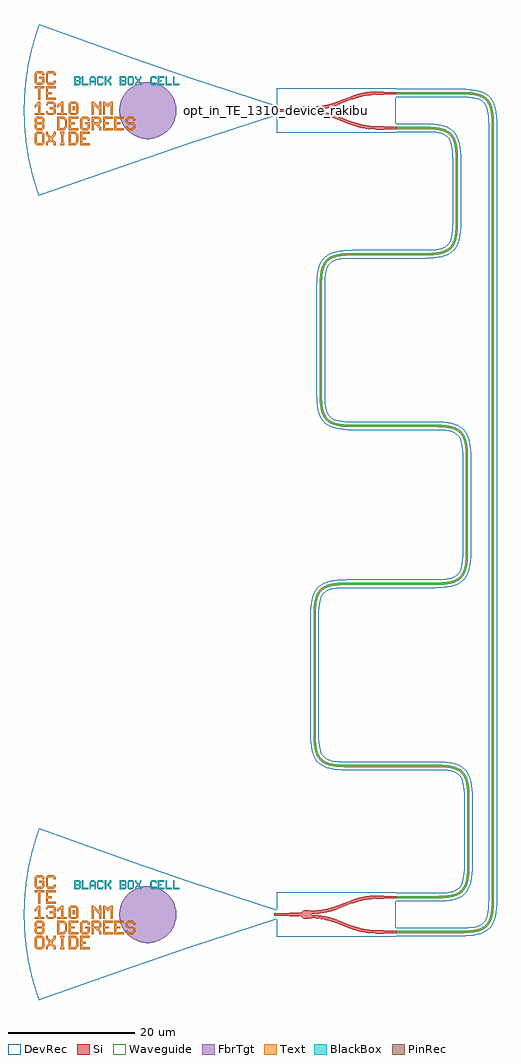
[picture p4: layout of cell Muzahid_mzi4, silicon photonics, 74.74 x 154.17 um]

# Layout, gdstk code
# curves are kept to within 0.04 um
import gdstk
lib = gdstk.Library(unit=1e-6, precision=1e-09)
def R(c, l, rs):  # rectangles x0, y0, x1, y1
    for r in rs: c.add(gdstk.rectangle(r[:2], r[2:], *l))
def P(c, l, *ps):  # polygons
    for p in ps: c.add(gdstk.Polygon(p, *l))
Si = (1, 0)
PinRec = (1, 10)
Waveguide = (1, 99)
Text = (10, 0)
DevRec = (68, 0)
FbrTgt = (81, 0)
BlackBox = (998, 0)

waveguide = lib.new_cell('Waveguide')
P(waveguide, Si, [(58.769,10.575),(58.769,10.925),(69.496,10.93),(70.634,10.997),(71.565,11.157),(72.076,11.32),(72.506,11.534),(72.863,11.799),(73.157,12.123),(73.448,12.626),(73.624,13.117),(73.838,14.358),(73.891,15.75),(73.891,138.25),(73.819,139.818),(73.693,140.608),(73.541,141.14),(73.341,141.59),(73.089,141.965),(72.78,142.274),(72.405,142.526),(71.955,142.726),(71.423,142.878),(70.458,143.022),(69.495,143.071),(58.769,143.075),(58.769,143.425),(69.287,143.424),(70.49,143.37),(71.499,143.22),(72.205,143.005),(72.901,142.623),(73.359,142.187),(73.709,141.64),(73.999,140.835),(74.147,140.032),(74.231,138.896),(74.241,15.75),(74.186,14.326),(74.068,13.473),(73.918,12.88),(73.71,12.361),(73.439,11.915),(73.099,11.539),(72.688,11.234),(72.206,10.996),(71.651,10.817),(70.672,10.649),(69.502,10.58)])
P(waveguide, Waveguide, [(58.769,10.575),(58.769,10.925),(69.496,10.93),(70.634,10.997),(71.565,11.157),(72.076,11.32),(72.506,11.534),(72.863,11.799),(73.157,12.123),(73.448,12.626),(73.624,13.117),(73.838,14.358),(73.891,15.75),(73.891,138.25),(73.819,139.818),(73.693,140.608),(73.541,141.14),(73.341,141.59),(73.089,141.965),(72.78,142.274),(72.405,142.526),(71.955,142.726),(71.423,142.878),(70.458,143.022),(69.495,143.071),(58.769,143.075),(58.769,143.425),(69.287,143.424),(70.49,143.37),(71.499,143.22),(72.205,143.005),(72.901,142.623),(73.359,142.187),(73.709,141.64),(73.999,140.835),(74.147,140.032),(74.231,138.896),(74.241,15.75),(74.186,14.326),(74.068,13.473),(73.918,12.88),(73.71,12.361),(73.439,11.915),(73.099,11.539),(72.688,11.234),(72.206,10.996),(71.651,10.817),(70.672,10.649),(69.502,10.58)])
P(waveguide, DevRec, [(58.769,10.075),(58.769,11.425),(69.718,11.436),(70.822,11.524),(71.665,11.705),(72.264,11.972),(72.491,12.136),(72.845,12.553),(73.112,13.152),(73.214,13.542),(73.349,14.514),(73.391,15.75),(73.391,138.25),(73.292,140.006),(73.111,140.849),(72.988,141.177),(72.68,141.675),(72.49,141.865),(71.992,142.173),(71.274,142.398),(70.302,142.533),(69.065,142.575),(58.769,142.575),(58.769,143.925),(69.067,143.925),(70.41,143.879),(71.56,143.718),(72.544,143.405),(73.366,142.891),(73.706,142.551),(73.99,142.162),(74.399,141.255),(74.63,140.192),(74.73,138.95),(74.741,15.75),(74.695,14.406),(74.534,13.256),(74.4,12.746),(73.991,11.839),(73.367,11.11),(72.978,10.826),(72.071,10.417),(71.008,10.186),(69.766,10.086)])
waveguide.add(gdstk.FlexPath([(58.779,143.25),(58.759,143.25)], 0.35, ends="flush", simple_path=True, layer=1, datatype=10))  # PinRec
waveguide.add(gdstk.FlexPath([(58.779,10.75),(58.759,10.75)], 0.35, ends="flush", simple_path=True, layer=1, datatype=10))  # PinRec
waveguide.add(gdstk.Label('opt1', (58.769,143.25), layer=1, texttype=10))
waveguide.add(gdstk.Label('opt2', (58.769,10.75), layer=1, texttype=10))
waveguide.add(gdstk.Label('Lumerical_INTERCONNECT_library=Design kits/EBeam', (58.769,143.18), layer=68, texttype=0))
waveguide.add(gdstk.Label('Component=ebeam_wg_integral_1310', (58.769,143.32), layer=68, texttype=0))
waveguide.add(gdstk.Label('cellName=Waveguide', (58.769,143.39), layer=68, texttype=0))
waveguide.add(gdstk.Label('Spice_param:wg_length=0.000160001 wg_width=3.5e-07 points="[[58.769,143.25],[74.066,143.25],[74.066,10.75],[58.769,10.75]]" radius=5e-06', (58.769,143.25), layer=68, texttype=0))
waveguide.add(gdstk.Label('Length=160.001 (microns)', (58.769,142.83), layer=68, texttype=0))
waveguide.add(gdstk.Label('waveguide_type=Strip TE 1310 nm, w=350 nm', (58.769,143.11), layer=68, texttype=0))

text = lib.new_cell('TEXT')
P(text, BlackBox, [(0,0),(0,1.4),(0.8,1.4),(1,1.2),(0.2,1.2),(0.2,0.8),(0.7,0.8),(0.8,0.9),(0.8,1.1),(0.7,1.2),(1,1.2),(1,0.8),(0.9,0.7),(1,0.6),(0.2,0.6),(0.2,0.2),(0.7,0.2),(0.8,0.3),(0.8,0.5),(0.7,0.6),(1,0.6),(1,0.2),(0.8,0)],
  [(1.2,0),(1.2,1.4),(1.4,1.4),(1.4,0.2),(2.2,0.2),(2.2,0)],
  [(2.4,0),(2.4,1.1),(2.7,1.4),(3.1,1.4),(3.3,1.2),(2.8,1.2),(2.6,1),(2.6,0.7),(3.2,0.7),(3.2,1),(3,1.2),(3.3,1.2),(3.4,1.1),(3.4,0),(3.2,0),(3.2,0.5),(2.6,0.5),(2.6,0)],
  [(3.8,0),(3.6,0.2),(3.6,1.2),(3.8,1.4),(4.4,1.4),(4.6,1.2),(4.6,1),(4.4,1),(4.4,1.1),(4.3,1.2),(3.9,1.2),(3.8,1.1),(3.8,0.3),(3.9,0.2),(4.3,0.2),(4.4,0.3),(4.4,0.4),(4.6,0.4),(4.6,0.2),(4.4,0)],
  [(4.8,0),(4.8,1.4),(5,1.4),(5,0.8),(5.2,0.8),(5.6,1.2),(5.6,1.4),(5.8,1.4),(5.8,1.1),(5.4,0.7),(5.8,0.3),(5.8,0),(5.6,0),(5.6,0.2),(5.2,0.6),(5,0.6),(5,0)],
  [(7.2,0),(7.2,1.4),(8,1.4),(8.2,1.2),(7.4,1.2),(7.4,0.8),(7.9,0.8),(8,0.9),(8,1.1),(7.9,1.2),(8.2,1.2),(8.2,0.8),(8.1,0.7),(8.2,0.6),(7.4,0.6),(7.4,0.2),(7.9,0.2),(8,0.3),(8,0.5),(7.9,0.6),(8.2,0.6),(8.2,0.2),(8,0)],
  [(8.6,0),(8.4,0.2),(8.4,1.2),(8.6,1.4),(9.2,1.4),(9.4,1.2),(9.4,0.7),(9.2,0.7),(9.2,1.1),(9.1,1.2),(8.7,1.2),(8.6,1.1),(8.6,0.3),(8.7,0.2),(9.1,0.2),(9.2,0.3),(9.2,0.7),(9.4,0.7),(9.4,0.2),(9.2,0)],
  [(9.6,0),(9.6,0.3),(9.9,0.6),(9.9,0.8),(9.6,1.1),(9.6,1.4),(9.8,1.4),(9.8,1.2),(10.1,0.9),(10.4,1.2),(10.4,1.4),(10.6,1.4),(10.6,1.1),(10.3,0.8),(10.3,0.6),(10.6,0.3),(10.6,0),(10.4,0),(10.4,0.2),(10.1,0.5),(9.8,0.2),(9.8,0)],
  [(12.2,0),(12,0.2),(12,1.2),(12.2,1.4),(12.8,1.4),(13,1.2),(13,1),(12.8,1),(12.8,1.1),(12.7,1.2),(12.3,1.2),(12.2,1.1),(12.2,0.3),(12.3,0.2),(12.7,0.2),(12.8,0.3),(12.8,0.4),(13,0.4),(13,0.2),(12.8,0)],
  [(13.2,0),(13.2,1.4),(14.2,1.4),(14.2,1.2),(13.4,1.2),(13.4,0.8),(13.8,0.8),(13.8,0.6),(13.4,0.6),(13.4,0.2),(14.2,0.2),(14.2,0)],
  [(14.4,0),(14.4,1.4),(14.6,1.4),(14.6,0.2),(15.4,0.2),(15.4,0)],
  [(15.6,0),(15.6,1.4),(15.8,1.4),(15.8,0.2),(16.6,0.2),(16.6,0)])

gc_te_1310_8degoxide_bb = lib.new_cell('GC_TE_1310_8degOxide_BB')
R(gc_te_1310_8degoxide_bb, Si, [(-0.4,-0.175,0,0.175)])
R(gc_te_1310_8degoxide_bb, Text, [(-32.27,0.06,-31.97,0.66)])
P(gc_te_1310_8degoxide_bb, Text, [(-37.67,1.71),(-37.67,3.51),(-38.27,3.51),(-38.27,3.81),(-36.77,3.81),(-36.77,3.51),(-37.37,3.51),(-37.37,1.71)],
  [(-37.97,-5.49),(-38.27,-5.19),(-38.27,-3.69),(-37.97,-3.39),(-37.07,-3.39),(-36.77,-3.69),(-36.77,-4.44),(-37.07,-4.44),(-37.07,-3.84),(-37.22,-3.69),(-37.82,-3.69),(-37.97,-3.84),(-37.97,-5.04),(-37.82,-5.19),(-37.22,-5.19),(-37.07,-5.04),(-37.07,-4.44),(-36.77,-4.44),(-36.77,-5.19),(-37.07,-5.49)],
  [(-31.07,-5.49),(-31.07,-3.39),(-29.57,-3.39),(-29.57,-3.69),(-30.77,-3.69),(-30.77,-4.29),(-30.17,-4.29),(-30.17,-4.59),(-30.77,-4.59),(-30.77,-5.19),(-29.57,-5.19),(-29.57,-5.49)],
  [(-32.87,-3.09),(-32.87,-0.99),(-31.37,-0.99),(-31.37,-1.29),(-32.57,-1.29),(-32.57,-1.89),(-31.97,-1.89),(-31.97,-2.19),(-32.57,-2.19),(-32.57,-2.79),(-31.37,-2.79),(-31.37,-3.09)],
  [(-27.47,-3.09),(-27.47,-0.99),(-25.97,-0.99),(-25.97,-1.29),(-27.17,-1.29),(-27.17,-1.89),(-26.57,-1.89),(-26.57,-2.19),(-27.17,-2.19),(-27.17,-2.79),(-25.97,-2.79),(-25.97,-3.09)],
  [(-25.67,-3.09),(-25.67,-0.99),(-24.17,-0.99),(-24.17,-1.29),(-25.37,-1.29),(-25.37,-1.89),(-24.77,-1.89),(-24.77,-2.19),(-25.37,-2.19),(-25.37,-2.79),(-24.17,-2.79),(-24.17,-3.09)],
  [(-36.47,1.71),(-36.47,3.81),(-34.97,3.81),(-34.97,3.51),(-36.17,3.51),(-36.17,2.91),(-35.57,2.91),(-35.57,2.61),(-36.17,2.61),(-36.17,2.01),(-34.97,2.01),(-34.97,1.71)],
  [(-27.47,-0.69),(-27.47,1.41),(-27.17,1.41),(-26.87,1.11),(-26.57,1.11),(-26.27,1.41),(-25.97,1.41),(-25.97,-0.69),(-26.27,-0.69),(-26.27,0.81),(-26.42,0.81),(-26.72,0.51),(-27.02,0.81),(-27.17,0.81),(-27.17,-0.69)],
  [(-29.27,-0.69),(-29.27,1.41),(-28.97,1.41),(-28.22,0.66),(-28.07,0.66),(-28.07,1.41),(-27.77,1.41),(-27.77,-0.69),(-28.07,-0.69),(-28.07,0.06),(-28.82,0.81),(-28.97,0.81),(-28.97,-0.69)],
  [(-34.22,-5.49),(-34.22,-5.19),(-34.07,-5.19),(-34.07,-3.69),(-34.22,-3.69),(-34.22,-3.39),(-33.62,-3.39),(-33.62,-3.69),(-33.77,-3.69),(-33.77,-5.19),(-33.62,-5.19),(-33.62,-5.49)],
  [(-36.17,-0.69),(-36.47,-0.39),(-36.47,-0.09),(-36.17,-0.09),(-36.17,-0.24),(-36.02,-0.39),(-35.42,-0.39),(-35.27,-0.24),(-35.27,0.06),(-35.42,0.21),(-35.87,0.21),(-35.87,0.51),(-35.42,0.51),(-35.27,0.66),(-35.27,0.96),(-35.42,1.11),(-36.02,1.11),(-36.17,0.96),(-36.17,0.81),(-36.47,0.81),(-36.47,1.11),(-36.17,1.41),(-35.27,1.41),(-34.97,1.11),(-34.97,0.51),(-35.12,0.36),(-34.97,0.21),(-34.97,-0.39),(-35.27,-0.69)],
  [(-29.27,-3.09),(-29.27,-0.99),(-28.07,-0.99),(-27.77,-1.29),(-28.97,-1.29),(-28.97,-1.89),(-28.22,-1.89),(-28.07,-1.74),(-28.07,-1.44),(-28.22,-1.29),(-27.77,-1.29),(-27.77,-1.89),(-28.07,-2.19),(-28.07,-2.34),(-27.77,-2.64),(-27.77,-3.09),(-28.07,-3.09),(-28.07,-2.79),(-28.67,-2.19),(-28.97,-2.19),(-28.97,-3.09)],
  [(-30.77,-3.09),(-31.07,-2.79),(-31.07,-1.29),(-30.77,-0.99),(-29.87,-0.99),(-29.57,-1.29),(-29.57,-1.59),(-29.87,-1.59),(-29.87,-1.44),(-30.02,-1.29),(-30.62,-1.29),(-30.77,-1.44),(-30.77,-2.64),(-30.62,-2.79),(-30.02,-2.79),(-29.87,-2.64),(-29.87,-2.19),(-30.32,-2.19),(-30.32,-1.89),(-29.57,-1.89),(-29.57,-2.79),(-29.87,-3.09)],
  [(-37.97,4.11),(-38.27,4.41),(-38.27,5.91),(-37.97,6.21),(-37.07,6.21),(-36.77,5.91),(-36.77,5.61),(-37.07,5.61),(-37.07,5.76),(-37.22,5.91),(-37.82,5.91),(-37.97,5.76),(-37.97,4.56),(-37.82,4.41),(-37.22,4.41),(-37.07,4.56),(-37.07,5.01),(-37.52,5.01),(-37.52,5.31),(-36.77,5.31),(-36.77,4.41),(-37.07,4.11)],
  [(-32.57,-0.69),(-32.87,-0.39),(-32.87,1.11),(-32.57,1.41),(-31.67,1.41),(-31.37,1.11),(-32.42,1.11),(-32.57,0.96),(-32.57,-0.24),(-32.42,-0.39),(-31.82,-0.39),(-31.67,-0.24),(-31.67,0.96),(-31.82,1.11),(-31.37,1.11),(-31.37,-0.39),(-31.67,-0.69)],
  [(-32.87,-5.49),(-32.87,-3.39),(-31.82,-3.39),(-31.52,-3.69),(-32.57,-3.69),(-32.57,-5.19),(-31.97,-5.19),(-31.67,-4.89),(-31.67,-3.99),(-31.97,-3.69),(-31.52,-3.69),(-31.37,-3.84),(-31.37,-5.04),(-31.82,-5.49)],
  [(-34.67,-3.09),(-34.67,-0.99),(-33.62,-0.99),(-33.32,-1.29),(-34.37,-1.29),(-34.37,-2.79),(-33.77,-2.79),(-33.47,-2.49),(-33.47,-1.59),(-33.77,-1.29),(-33.32,-1.29),(-33.17,-1.44),(-33.17,-2.64),(-33.62,-3.09)],
  [(-23.57,-3.09),(-23.87,-2.79),(-23.87,-2.49),(-23.57,-2.49),(-23.57,-2.64),(-23.42,-2.79),(-22.82,-2.79),(-22.67,-2.64),(-22.67,-2.34),(-22.82,-2.19),(-23.57,-2.19),(-23.87,-1.89),(-23.87,-1.29),(-23.57,-0.99),(-22.67,-0.99),(-22.37,-1.29),(-22.37,-1.59),(-22.67,-1.59),(-22.67,-1.44),(-22.82,-1.29),(-23.42,-1.29),(-23.57,-1.44),(-23.57,-1.74),(-23.42,-1.89),(-22.67,-1.89),(-22.37,-2.19),(-22.37,-2.79),(-22.67,-3.09)],
  [(-37.97,-3.09),(-38.27,-2.79),(-38.27,-2.19),(-38.12,-2.04),(-38.27,-1.89),(-38.27,-1.29),(-37.97,-0.99),(-37.07,-0.99),(-36.77,-1.29),(-37.82,-1.29),(-37.97,-1.44),(-37.97,-1.74),(-37.82,-1.89),(-37.22,-1.89),(-37.07,-1.74),(-37.07,-1.44),(-37.22,-1.29),(-36.77,-1.29),(-36.77,-1.89),(-36.92,-2.04),(-36.77,-2.19),(-37.82,-2.19),(-37.97,-2.34),(-37.97,-2.64),(-37.82,-2.79),(-37.22,-2.79),(-37.07,-2.64),(-37.07,-2.34),(-37.22,-2.19),(-36.77,-2.19),(-36.77,-2.79),(-37.07,-3.09)],
  [(-38.27,-0.69),(-38.27,-0.39),(-37.67,-0.39),(-37.67,0.81),(-37.82,0.81),(-38.12,0.51),(-38.27,0.51),(-38.27,0.81),(-37.67,1.41),(-37.37,1.41),(-37.37,-0.39),(-36.77,-0.39),(-36.77,-0.69)],
  [(-34.67,-0.69),(-34.67,-0.39),(-34.07,-0.39),(-34.07,0.81),(-34.22,0.81),(-34.52,0.51),(-34.67,0.51),(-34.67,0.81),(-34.07,1.41),(-33.77,1.41),(-33.77,-0.39),(-33.17,-0.39),(-33.17,-0.69)],
  [(-36.47,-5.49),(-36.47,-5.04),(-36.02,-4.59),(-36.02,-4.29),(-36.47,-3.84),(-36.47,-3.39),(-36.17,-3.39),(-36.17,-3.69),(-35.72,-4.14),(-35.27,-3.69),(-35.27,-3.39),(-34.97,-3.39),(-34.97,-3.84),(-35.42,-4.29),(-35.42,-4.59),(-34.97,-5.04),(-34.97,-5.49),(-35.27,-5.49),(-35.27,-5.19),(-35.72,-4.74),(-36.17,-5.19),(-36.17,-5.49)],
  [(-36.17,4.11),(-36.47,4.41),(-36.47,5.91),(-36.17,6.21),(-35.27,6.21),(-34.97,5.91),(-34.97,5.61),(-35.27,5.61),(-35.27,5.76),(-35.42,5.91),(-36.02,5.91),(-36.17,5.76),(-36.17,4.56),(-36.02,4.41),(-35.42,4.41),(-35.27,4.56),(-35.27,4.71),(-34.97,4.71),(-34.97,4.41),(-35.27,4.11)])
P(gc_te_1310_8degoxide_bb, DevRec, [(-37.607,-13.5),(-38.627,-10.245),(-39.378,-6.832),(-39.647,-5.058),(-39.835,-3.274),(-39.969,0.224),(-39.812,3.541),(-39.331,7.097),(-38.557,10.505),(-37.546,13.669),(-22.8,8.353),(-14.109,5.36),(0,0.75),(0,-0.75),(-14.109,-5.36)])
P(gc_te_1310_8degoxide_bb, FbrTgt, [(-20.621,-4.5),(-21.495,-4.37),(-22.326,-4.073),(-23.084,-3.619),(-23.738,-3.026),(-24.264,-2.316),(-24.642,-1.518),(-24.857,-0.661),(-24.9,0.221),(-24.77,1.095),(-24.473,1.926),(-24.019,2.684),(-23.426,3.338),(-22.716,3.864),(-21.918,4.242),(-21.061,4.457),(-20.179,4.5),(-19.305,4.37),(-18.474,4.073),(-17.716,3.619),(-17.062,3.026),(-16.536,2.316),(-16.158,1.518),(-15.943,0.661),(-15.9,-0.221),(-16.03,-1.095),(-16.327,-1.926),(-16.781,-2.684),(-17.374,-3.338),(-18.084,-3.864),(-18.882,-4.242),(-19.739,-4.457)])
gc_te_1310_8degoxide_bb.add(gdstk.FlexPath([(-0.01,0),(0.01,0)], 0.35, ends="flush", simple_path=True, layer=1, datatype=10))  # PinRec
gc_te_1310_8degoxide_bb.add(gdstk.Reference(text, (-32,4)))
gc_te_1310_8degoxide_bb.add(gdstk.Label('opt1', (0,0), layer=1, texttype=10))
gc_te_1310_8degoxide_bb.add(gdstk.Label('Lumerical_INTERCONNECT_library=Design kits/ebeam', (-29,-7), layer=68, texttype=0))
gc_te_1310_8degoxide_bb.add(gdstk.Label('Component=GC_TE_1310_8degOxide_BB', (-28,-5), layer=68, texttype=0))

ebeam_y_1310 = lib.new_cell('ebeam_y_1310')
R(ebeam_y_1310, Si, [(6.5,-3,7.4,-2.5), (-7.4,-0.25,-6,0.25), (6.5,2.5,7.4,3)])
P(ebeam_y_1310, Si, [(6.458,-3),(6.237,-2.997),(6.237,-2.497),(6.5,-2.5),(6.5,-3)],
  [(5.033,-2.908),(3.59,-2.634),(2.265,-2.21),(2.445,-1.744),(3.731,-2.154),(5.033,-2.404)],
  [(6.233,-2.997),(5.033,-2.908),(5.033,-2.404),(6.237,-2.497)],
  [(2.265,-2.21),(0.055,-1.356),(0.235,-0.89),(2.445,-1.744)],
  [(-0.762,-1.076),(-2.334,-0.724),(-4,-0.6),(-4,-0.1),(-2.381,-0.212),(-0.762,-0.555)],
  [(0.055,-1.356),(-0.762,-1.076),(-0.762,-0.555),(0.235,-0.89)],
  [(6.237,2.497),(6.237,2.997),(6.5,3),(6.5,2.5)],
  [(2.445,1.744),(2.267,2.211),(3.59,2.634),(5.033,2.908),(5.033,2.404),(3.731,2.154)],
  [(5.033,2.404),(5.033,2.908),(6.237,2.997),(6.237,2.497)],
  [(0.235,0.89),(0.055,1.356),(2.265,2.21),(2.445,1.744)],
  [(-4,0.1),(-4,0.6),(-2.334,0.724),(-0.762,1.076),(-0.762,0.555),(-2.381,0.212)],
  [(-0.762,0.555),(-0.762,1.076),(0.055,1.356),(0.235,0.89)],
  [(-5.122,-0.662),(-5.442,-0.374),(-5.808,-0.255),(-6,-0.25),(-6,0.25),(-5.817,0.253),(-5.442,0.374),(-5.122,0.662)],
  [(-4.957,-0.703),(-5.122,-0.662),(-5.122,0.662),(-4.538,0.703),(-4,0.6),(-4,-0.6),(-4.509,-0.701)],
  [(-7.4,-0.25),(-9.4,-0.175),(-9.4,0.175),(-7.4,0.25)],
  [(7.4,2.5),(7.4,3),(9.4,2.925),(9.4,2.575)],
  [(7.4,-3),(7.4,-2.5),(9.4,-2.575),(9.4,-2.925)])
R(ebeam_y_1310, DevRec, [(-9.4,-3.5,9.4,3.5)])
ebeam_y_1310.add(gdstk.FlexPath([(9.35,2.75),(9.45,2.75)], 0.35, ends="flush", simple_path=True, layer=1, datatype=10))  # PinRec
ebeam_y_1310.add(gdstk.FlexPath([(9.35,-2.75),(9.45,-2.75)], 0.35, ends="flush", simple_path=True, layer=1, datatype=10))  # PinRec
ebeam_y_1310.add(gdstk.FlexPath([(-9.35,0),(-9.45,0)], 0.35, ends="flush", simple_path=True, layer=1, datatype=10))  # PinRec
ebeam_y_1310.add(gdstk.Label('Ref: Y Zhang, Opt. Express, 21/1, 2013, for 1550 nm\nWorks reasonably well at 1310 nm', (-9.25,-1), layer=10, texttype=0))
ebeam_y_1310.add(gdstk.Label('opt2', (9.4,2.75), layer=1, texttype=10))
ebeam_y_1310.add(gdstk.Label('opt3', (9.4,-2.75), layer=1, texttype=10))
ebeam_y_1310.add(gdstk.Label('opt1', (-9.4,0), layer=1, texttype=10))
ebeam_y_1310.add(gdstk.Label('Lumerical_INTERCONNECT_library=Design kits/ebeam', (-6.86,-2.19), layer=68, texttype=0))
ebeam_y_1310.add(gdstk.Label('Component=ebeam_y_1310', (-9,1.5), layer=68, texttype=0))

waveguide_7 = lib.new_cell('Waveguide$7')
P(waveguide_7, Si, [(58.769,16.075),(58.769,16.425),(65.639,16.43),(67.267,16.564),(67.974,16.733),(68.549,16.975),(69.085,17.374),(69.426,17.811),(69.685,18.361),(69.867,19.039),(69.981,19.858),(70.03,20.821),(70.029,32.4),(69.942,33.708),(69.766,34.604),(69.425,35.41),(68.923,35.994),(68.218,36.401),(67.109,36.682),(65.426,36.794),(50.919,36.795),(49.681,36.835),(48.641,36.969),(47.779,37.216),(47.083,37.598),(46.625,38.034),(46.275,38.581),(45.985,39.386),(45.837,40.189),(45.753,41.325),(45.744,60.75),(45.772,61.796),(45.862,62.703),(45.986,63.335),(46.165,63.89),(46.403,64.372),(46.708,64.783),(47.084,65.123),(47.53,65.394),(48.049,65.602),(48.642,65.752),(49.682,65.886),(50.698,65.924),(65.995,65.953),(67.027,66.064),(67.734,66.233),(68.309,66.475),(68.845,66.874),(69.245,67.411),(69.487,67.986),(69.681,68.85),(69.777,69.918),(69.794,85.69),(69.702,87.428),(69.444,88.58),(69.244,89.03),(68.992,89.405),(68.683,89.714),(68.308,89.966),(67.858,90.166),(67.18,90.348),(66.361,90.462),(65.186,90.514),(51.889,90.515),(50.651,90.555),(49.611,90.689),(48.881,90.885),(48.267,91.174),(47.677,91.658),(47.245,92.301),(46.995,92.961),(46.831,93.738),(46.731,94.842),(46.732,113.649),(46.92,115.234),(47.084,115.808),(47.373,116.422),(47.678,116.833),(48.159,117.247),(48.623,117.502),(49.305,117.734),(50.284,117.902),(51.454,117.971),(63.381,117.975),(64.774,118.029),(65.739,118.173),(66.391,118.37),(67.009,118.71),(67.472,119.173),(67.812,119.791),(68.009,120.443),(68.153,121.408),(68.202,122.371),(68.196,133.384),(68.067,134.808),(67.762,135.875),(67.404,136.465),(66.915,136.907),(66.39,137.181),(65.592,137.408),(64.773,137.522),(63.81,137.571),(58.769,137.575),(58.769,137.925),(64.229,137.908),(65.162,137.832),(65.965,137.684),(66.647,137.452),(67.111,137.197),(67.592,136.783),(67.897,136.372),(68.186,135.758),(68.382,135.028),(68.516,133.988),(68.554,132.972),(68.547,122.155),(68.463,121.019),(68.315,120.216),(68.083,119.534),(67.754,118.965),(67.217,118.428),(66.521,118.046),(65.659,117.799),(64.619,117.665),(63.381,117.625),(51.46,117.621),(50.322,117.554),(49.391,117.394),(48.88,117.231),(48.355,116.957),(48.013,116.676),(47.673,116.24),(47.459,115.81),(47.262,115.158),(47.082,113.633),(47.073,95.057),(47.155,93.953),(47.295,93.192),(47.507,92.566),(47.865,91.976),(48.354,91.534),(48.879,91.26),(49.677,91.033),(50.677,90.905),(51.889,90.865),(65.19,90.864),(66.206,90.826),(67.246,90.692),(67.839,90.542),(68.358,90.334),(68.804,90.063),(69.18,89.723),(69.485,89.312),(69.723,88.83),(69.902,88.275),(70.05,87.472),(70.144,85.69),(70.127,69.902),(70.027,68.798),(69.821,67.88),(69.486,67.129),(69.093,66.626),(68.591,66.234),(67.84,65.899),(66.922,65.693),(66.015,65.603),(50.702,65.574),(49.708,65.536),(48.862,65.437),(47.795,65.132),(47.385,64.907),(47.043,64.626),(46.763,64.285),(46.489,63.76),(46.208,62.651),(46.094,60.75),(46.103,41.337),(46.185,40.233),(46.325,39.472),(46.537,38.846),(46.895,38.256),(47.384,37.814),(48.029,37.495),(48.861,37.284),(49.893,37.173),(65.43,37.144),(67.161,37.028),(68.216,36.776),(68.716,36.552),(69.145,36.264),(69.42,36.003),(69.725,35.592),(69.963,35.11),(70.142,34.555),(70.31,33.576),(70.379,32.406),(70.375,20.605),(70.311,19.645),(70.179,18.817),(70.015,18.243),(69.726,17.629),(69.242,17.039),(68.717,16.669),(68.08,16.399),(67.162,16.193),(65.645,16.08)])
P(waveguide_7, Waveguide, [(58.769,16.075),(58.769,16.425),(65.639,16.43),(67.267,16.564),(67.974,16.733),(68.549,16.975),(69.085,17.374),(69.426,17.811),(69.685,18.361),(69.867,19.039),(69.981,19.858),(70.03,20.821),(70.029,32.4),(69.942,33.708),(69.766,34.604),(69.425,35.41),(68.923,35.994),(68.218,36.401),(67.109,36.682),(65.426,36.794),(50.919,36.795),(49.681,36.835),(48.641,36.969),(47.779,37.216),(47.083,37.598),(46.625,38.034),(46.275,38.581),(45.985,39.386),(45.837,40.189),(45.753,41.325),(45.744,60.75),(45.772,61.796),(45.862,62.703),(45.986,63.335),(46.165,63.89),(46.403,64.372),(46.708,64.783),(47.084,65.123),(47.53,65.394),(48.049,65.602),(48.642,65.752),(49.682,65.886),(50.698,65.924),(65.995,65.953),(67.027,66.064),(67.734,66.233),(68.309,66.475),(68.845,66.874),(69.245,67.411),(69.487,67.986),(69.681,68.85),(69.777,69.918),(69.794,85.69),(69.702,87.428),(69.444,88.58),(69.244,89.03),(68.992,89.405),(68.683,89.714),(68.308,89.966),(67.858,90.166),(67.18,90.348),(66.361,90.462),(65.186,90.514),(51.889,90.515),(50.651,90.555),(49.611,90.689),(48.881,90.885),(48.267,91.174),(47.677,91.658),(47.245,92.301),(46.995,92.961),(46.831,93.738),(46.731,94.842),(46.732,113.649),(46.92,115.234),(47.084,115.808),(47.373,116.422),(47.678,116.833),(48.159,117.247),(48.623,117.502),(49.305,117.734),(50.284,117.902),(51.454,117.971),(63.381,117.975),(64.774,118.029),(65.739,118.173),(66.391,118.37),(67.009,118.71),(67.472,119.173),(67.812,119.791),(68.009,120.443),(68.153,121.408),(68.202,122.371),(68.196,133.384),(68.067,134.808),(67.762,135.875),(67.404,136.465),(66.915,136.907),(66.39,137.181),(65.592,137.408),(64.773,137.522),(63.81,137.571),(58.769,137.575),(58.769,137.925),(64.229,137.908),(65.162,137.832),(65.965,137.684),(66.647,137.452),(67.111,137.197),(67.592,136.783),(67.897,136.372),(68.186,135.758),(68.382,135.028),(68.516,133.988),(68.554,132.972),(68.547,122.155),(68.463,121.019),(68.315,120.216),(68.083,119.534),(67.754,118.965),(67.217,118.428),(66.521,118.046),(65.659,117.799),(64.619,117.665),(63.381,117.625),(51.46,117.621),(50.322,117.554),(49.391,117.394),(48.88,117.231),(48.355,116.957),(48.013,116.676),(47.673,116.24),(47.459,115.81),(47.262,115.158),(47.082,113.633),(47.073,95.057),(47.155,93.953),(47.295,93.192),(47.507,92.566),(47.865,91.976),(48.354,91.534),(48.879,91.26),(49.677,91.033),(50.677,90.905),(51.889,90.865),(65.19,90.864),(66.206,90.826),(67.246,90.692),(67.839,90.542),(68.358,90.334),(68.804,90.063),(69.18,89.723),(69.485,89.312),(69.723,88.83),(69.902,88.275),(70.05,87.472),(70.144,85.69),(70.127,69.902),(70.027,68.798),(69.821,67.88),(69.486,67.129),(69.093,66.626),(68.591,66.234),(67.84,65.899),(66.922,65.693),(66.015,65.603),(50.702,65.574),(49.708,65.536),(48.862,65.437),(47.795,65.132),(47.385,64.907),(47.043,64.626),(46.763,64.285),(46.489,63.76),(46.208,62.651),(46.094,60.75),(46.103,41.337),(46.185,40.233),(46.325,39.472),(46.537,38.846),(46.895,38.256),(47.384,37.814),(48.029,37.495),(48.861,37.284),(49.893,37.173),(65.43,37.144),(67.161,37.028),(68.216,36.776),(68.716,36.552),(69.145,36.264),(69.42,36.003),(69.725,35.592),(69.963,35.11),(70.142,34.555),(70.31,33.576),(70.379,32.406),(70.375,20.605),(70.311,19.645),(70.179,18.817),(70.015,18.243),(69.726,17.629),(69.242,17.039),(68.717,16.669),(68.08,16.399),(67.162,16.193),(65.645,16.08)])
P(waveguide_7, DevRec, [(58.769,15.575),(58.769,16.925),(65.208,16.925),(66.965,17.024),(68.136,17.328),(68.634,17.636),(68.988,18.053),(69.255,18.652),(69.357,19.042),(69.524,20.598),(69.523,32.622),(69.435,33.726),(69.254,34.569),(68.987,35.168),(68.823,35.395),(68.406,35.749),(67.807,36.016),(66.964,36.197),(65.209,36.295),(50.919,36.295),(49.574,36.342),(48.424,36.503),(47.44,36.816),(46.618,37.33),(46.278,37.67),(45.994,38.059),(45.585,38.966),(45.354,40.029),(45.254,41.272),(45.244,60.75),(45.355,62.692),(45.586,63.755),(45.765,64.229),(46.279,65.051),(47.008,65.675),(47.441,65.905),(48.425,66.218),(49.575,66.379),(50.919,66.425),(66.206,66.468),(67.568,66.705),(68.167,66.972),(68.584,67.326),(68.892,67.824),(69.117,68.542),(69.284,70.098),(69.294,85.69),(69.195,87.446),(69.014,88.289),(68.891,88.617),(68.583,89.115),(68.393,89.305),(67.895,89.613),(67.177,89.838),(66.205,89.973),(64.969,90.015),(51.888,90.015),(50.544,90.062),(49.394,90.223),(48.41,90.536),(47.588,91.05),(47.248,91.39),(46.964,91.779),(46.555,92.686),(46.324,93.749),(46.224,94.992),(46.225,113.5),(46.422,115.295),(46.735,116.279),(46.965,116.712),(47.589,117.441),(47.978,117.725),(48.885,118.134),(49.948,118.365),(51.191,118.465),(64.618,118.518),(65.59,118.653),(66.308,118.878),(66.806,119.186),(67.16,119.603),(67.427,120.202),(67.608,121.045),(67.706,122.801),(67.695,133.402),(67.607,134.506),(67.303,135.677),(66.995,136.175),(66.578,136.529),(65.979,136.796),(65.136,136.977),(64.033,137.065),(58.769,137.075),(58.769,138.425),(64.079,138.415),(65.875,138.218),(66.859,137.905),(67.292,137.675),(67.681,137.391),(68.305,136.662),(68.535,136.229),(68.848,135.245),(69.009,134.095),(69.056,132.751),(69.046,122.102),(68.849,120.306),(68.536,119.322),(68.306,118.889),(68.022,118.5),(67.293,117.876),(66.386,117.467),(65.323,117.236),(63.382,117.125),(51.237,117.115),(50.134,117.027),(49.291,116.846),(48.963,116.723),(48.465,116.415),(48.275,116.225),(47.967,115.727),(47.663,114.556),(47.575,113.452),(47.574,95.038),(47.741,93.482),(47.966,92.764),(48.274,92.266),(48.691,91.912),(49.29,91.645),(50.652,91.408),(65.667,91.355),(67.463,91.158),(68.447,90.845),(68.88,90.615),(69.609,89.991),(70.123,89.169),(70.302,88.695),(70.533,87.632),(70.644,85.69),(70.634,70.052),(70.534,68.809),(70.303,67.746),(69.894,66.839),(69.61,66.45),(69.27,66.11),(68.448,65.596),(67.464,65.283),(66.314,65.122),(64.97,65.075),(50.919,65.075),(49.164,64.977),(48.321,64.796),(47.993,64.673),(47.495,64.365),(47.305,64.175),(46.997,63.677),(46.693,62.506),(46.594,60.75),(46.604,41.318),(46.771,39.762),(46.996,39.044),(47.304,38.546),(47.721,38.192),(48.32,37.925),(49.163,37.744),(50.267,37.656),(65.209,37.645),(67.15,37.535),(68.213,37.304),(68.687,37.125),(69.509,36.611),(70.133,35.882),(70.363,35.449),(70.676,34.465),(70.837,33.315),(70.884,31.971),(70.874,20.552),(70.677,18.756),(70.364,17.772),(70.134,17.339),(69.85,16.95),(69.121,16.326),(68.214,15.917),(67.151,15.686),(65.21,15.575)])
waveguide_7.add(gdstk.FlexPath([(58.779,137.75),(58.759,137.75)], 0.35, ends="flush", simple_path=True, layer=1, datatype=10))  # PinRec
waveguide_7.add(gdstk.FlexPath([(58.779,16.25),(58.759,16.25)], 0.35, ends="flush", simple_path=True, layer=1, datatype=10))  # PinRec
waveguide_7.add(gdstk.Label('opt1', (58.769,137.75), layer=1, texttype=10))
waveguide_7.add(gdstk.Label('opt2', (58.769,16.25), layer=1, texttype=10))
waveguide_7.add(gdstk.Label('Lumerical_INTERCONNECT_library=Design kits/EBeam', (58.769,137.68), layer=68, texttype=0))
waveguide_7.add(gdstk.Label('Component=ebeam_wg_integral_1310', (58.769,137.82), layer=68, texttype=0))
waveguide_7.add(gdstk.Label('cellName=Waveguide', (58.769,137.89), layer=68, texttype=0))
waveguide_7.add(gdstk.Label('Length=220.001 (microns)', (58.769,137.33), layer=68, texttype=0))
waveguide_7.add(gdstk.Label('waveguide_type=Strip TE 1310 nm, w=350 nm', (58.769,137.61), layer=68, texttype=0))

muzahid_mzi4 = lib.new_cell('Muzahid_mzi4')
muzahid_mzi4.add(gdstk.Reference(waveguide, (0,0)))
muzahid_mzi4.add(gdstk.Reference(gc_te_1310_8degoxide_bb, (39.969,13.5)))
muzahid_mzi4.add(gdstk.Reference(ebeam_y_1310, (49.369,13.5)))
muzahid_mzi4.add(gdstk.Reference(ebeam_y_1310, (49.369,140.5)))
muzahid_mzi4.add(gdstk.Reference(gc_te_1310_8degoxide_bb, (39.969,140.5)))
muzahid_mzi4.add(gdstk.Reference(waveguide_7, (0,0)))
muzahid_mzi4.add(gdstk.Label('opt_in_TE_1310_device_rakibul_mzi4Muzahid', (39.969,140.5), layer=10, texttype=0))

lib.write_gds('Muzahid_mzi4.gds')
